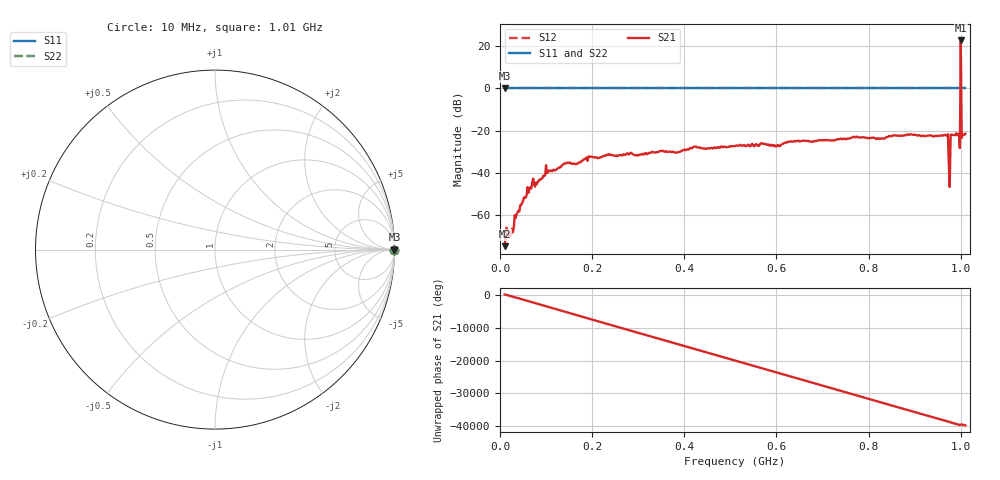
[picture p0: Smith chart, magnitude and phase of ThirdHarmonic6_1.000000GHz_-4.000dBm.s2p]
! 8/16/2025 8:03:22 AM
! C:\ANRITSUVNA\TEMP\TEMP.S2P
! CHANNEL.1
! TR.MEASUREMENT
! RAW.DATA
! RF.CORRECTION.OFF
! AVERAGING.OFF
! IF.BANDWIDTH: 5KHZ
! SWEEPTYPE:  FREQ.SWEEP(Linear)
! Reference Plane Port Info
! PORT:  PORT1  PORT2
! DISTANCE:  0  m  0  m
! TIME:  0  s  0  s
! PHASE.OFFSET:  0  deg.  0  deg.
! LOSS:  0  dB  0  dB
! REF.LOSS:  0  dB  0  dB
! REF.FREQ:  0  Hz  0  Hz
! Power Info
! POWER:  -20  dBm  -20  dBm
! EFF.POWER:  -20  dBm  -20  dBm
! SOURCE.ATTEN:  0  dB  0  dB
! TEST.ATTEN:  0  dB  0  dB
# GHZ S RI R 50.0
! FREQ.GHZ  S11RE  S11IM  S21RE  S21IM  S12RE  S12IM  S22RE  S22IM
!; PortSelection: Port_12
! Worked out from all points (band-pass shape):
!   501 points, 10 MHz to 1.01 GHz, reference 50 ohm
!   highest |S21| = 22.79 dB at 1 GHz (marker M1); lowest = -74.9 dB at 10 MHz (marker M2)
!   |S21| within 3 dB of the highest: 999.8826 MHz to 1.00013 GHz (247 kHz wide, 0.0247 % of centre)
!   lowest |S11| = 0.0 dB at 10 MHz (marker M3)
!   |S11| at or under -10 dB: nowhere
!   |S22| runs from 0.0 to 0.0 dB; largest |S21 - S12| = 14
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0.01  1 0  1.27e-05 0.00018  1 0  1 0
0.016  1 0  -0.000369 -0.000258  1 0  1 0
0.026  1 0  -3.73e-05 -0.000462  1 0  1 0
0.036  1 0  -0.00102 -0.000164  1 0  1 0
0.068  1 0  0.00363 -0.00217  1 0  1 0
0.104  1 0  0.00608 -0.00816  1 0  1 0
0.178  1 0  -0.0185 -0.00492  1 0  1 0
0.196  1 0  -0.0239 -0.000633  1 0  1 0
0.344  1 0  0.0307 -0.00427  1 0  1 0
0.51  1 0  -0.042 0.00973  1 0  1 0
0.678  1 0  -0.0122 -0.0525  1 0  1 0
0.844  1 0  0.0346 0.0651  1 0  1 0
0.968  1 0  -0.0208 0.074  1 0  1 0
0.972  1 0  0.0465 -0.0674  1 0  1 0
0.978  1 0  0.0365 0.0714  1 0  1 0
0.982  1 0  -0.012 -0.0779  1 0  1 0
0.994  1 0  -0.0617 0.0488  1 0  1 0
0.996  1 0  0.0413 0.0731  1 0  1 0
1  1 0  4.152 13.15  1 0  1 0
1.004  1 0  -0.00465 0.0816  1 0  1 0
1.006  1 0  0.0786 0.0162  1 0  1 0
1.01  1 0  -0.0706 -0.0456  1 0  1 0
